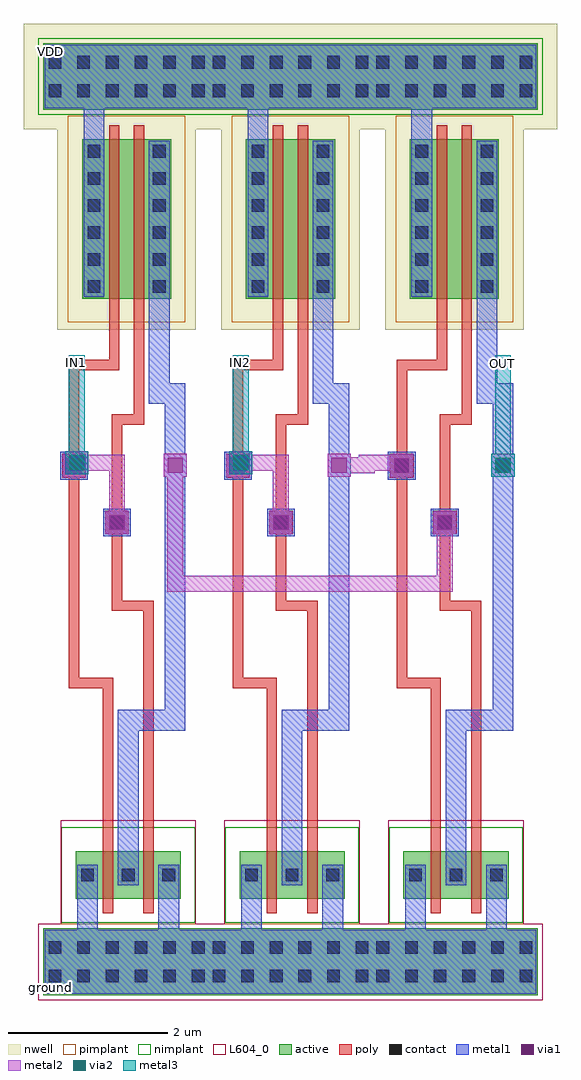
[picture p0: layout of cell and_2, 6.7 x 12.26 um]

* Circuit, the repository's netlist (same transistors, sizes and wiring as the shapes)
* LVS netlist generated with ICnet by 'penatb' on Wed Mar  6 2019 at 20:21:28

*
* Globals.
*
.global ground VDD

*
* Component pathname : $LAB_1/Tutorials/Tutorial_5
*
.subckt Tutorial_5  Y A B

        M4 Y A ground ground nmos l=0.13u w=0.6u m=1
        M3 Y B ground ground nmos l=0.13u w=0.6u m=1
        M2 Y A N$5 VDD pmos l=0.13u w=2u m=1
        M1 N$5 B VDD VDD pmos l=0.13u w=2u m=1
.ends Tutorial_5

*
* Component pathname : $LAB_1/Tutorials/Tutorial_6
*
.subckt Tutorial_6  OUT IN1 IN2

        X_TUTORIAL_53 OUT N$3 N$10 Tutorial_5
        X_TUTORIAL_52 N$10 IN2 IN2 Tutorial_5
        X_TUTORIAL_51 N$3 IN1 IN1 Tutorial_5
.ends Tutorial_6

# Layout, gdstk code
import gdstk
lib = gdstk.Library(unit=1e-6, precision=1e-09)
def R(c, l, rs):  # rectangles x0, y0, x1, y1
    for r in rs: c.add(gdstk.rectangle(r[:2], r[2:], *l))
def A(c, l, x, y, w, h, nx, ny, dx, dy):  # array of equal rectangles
    R(c, l, [(x+i*dx, y+j*dy, x+i*dx+w, y+j*dy+h) for i in range(nx) for j in range(ny)])
def P(c, l, *ps):  # polygons
    for p in ps: c.add(gdstk.Polygon(p, *l))
nwell = (3, 0)
active = (6, 0)
poly = (17, 0)
pimplant = (25, 0)
nimplant = (26, 0)
contact = (30, 0)
metal1 = (31, 0)
metal2 = (32, 0)
metal3 = (33, 0)
via1 = (51, 0)
via2 = (52, 0)
L604_0 = (604, 0)

poly_m1 = lib.new_cell('POLY_M1')
R(poly_m1, poly, [(-0.15,-0.15,0.15,0.15)])
R(poly_m1, contact, [(-0.08,-0.08,0.08,0.08)])
R(poly_m1, metal1, [(-0.13,-0.13,0.13,0.13)])

m1m2 = lib.new_cell('M1M2')
R(m1m2, metal1, [(-0.145,-0.145,0.145,0.145)])
R(m1m2, metal2, [(-0.145,-0.145,0.145,0.145)])
R(m1m2, via1, [(-0.095,-0.095,0.095,0.095)])

nor = lib.new_cell('nor')
R(nor, nwell, [(24.11,103.125,25.85,105.905), (23.69,105.645,26.27,106.965)])
R(nor, active, [(23.93,94.76,26.03,95.6), (24.34,95.97,25.66,96.57), (24.42,103.515,25.54,105.515), (23.93,105.885,26.03,106.725)])
R(nor, poly, [(24.68,95.79,24.81,95.97), (25.19,95.79,25.32,95.97), (24.68,95.97,24.81,96.57), (25.19,95.97,25.32,96.57), (24.68,96.57,24.81,96.75), (25.19,96.57,25.32,96.75), (24.76,103.335,24.89,103.515), (25.07,103.335,25.2,103.515), (24.76,103.515,24.89,105.515), (25.07,103.515,25.2,105.515), (24.76,105.515,24.89,105.695), (25.07,105.515,25.2,105.695)])
P(nor, poly, [(24.795,99.59),(25.19,99.59),(25.19,96.62),(25.32,96.62),(25.32,99.72),(24.925,99.72),(24.925,101.93),(25.2,101.93),(25.2,103.465),(25.07,103.465),(25.07,102.06),(24.795,102.06)],
  [(24.255,98.62),(24.68,98.62),(24.68,96.62),(24.81,96.62),(24.81,98.75),(24.385,98.75),(24.385,102.615),(24.89,102.615),(24.89,103.465),(24.76,103.465),(24.76,102.745),(24.255,102.745)])
R(nor, pimplant, [(23.87,94.7,26.09,95.66), (24.24,103.215,25.72,105.815)])
R(nor, nimplant, [(24.16,95.67,25.84,96.87), (23.87,105.825,26.09,106.785)])
A(nor, contact, 24, 94.92, 0.16, 0.16, 6, 2, 0.36, 0.36)
A(nor, contact, 24.41, 96.19, 0.16, 0.16, 3, 1, 0.51, 0)
A(nor, contact, 24.49, 103.585, 0.16, 0.16, 1, 6, 0, 0.34)
A(nor, contact, 25.31, 103.585, 0.16, 0.16, 1, 6, 0, 0.34)
A(nor, contact, 24, 106.045, 0.16, 0.16, 6, 2, 0.36, 0.36)
A(nor, metal1, 24.36, 96.14, 0.26, 0.26, 3, 1, 0.51, 0)
R(nor, metal1, [(23.95,94.78,26.01,95.58), (23.95,94.78,26.01,95.58), (24.36,95.32,24.62,96.4), (25.38,95.32,25.64,96.4), (24.685,100.525,25.035,100.875), (24.145,101.24,24.495,101.59), (24.44,103.535,24.7,105.495), (25.26,103.535,25.52,105.495), (24.44,105.235,24.7,106.165), (23.95,105.905,26.01,106.705), (23.95,105.905,26.01,106.705)])
P(nor, metal1, [(24.87,96.14),(25.13,96.14),(25.13,98.085),(25.72,98.085),(25.72,102.45),(25.52,102.45),(25.52,103.795),(25.26,103.795),(25.26,102.19),(25.46,102.19),(25.46,98.345),(24.87,98.345)])
R(nor, metal2, [(24.76,100.6,24.96,100.8), (25.49,101.32,25.69,101.52), (24.255,101.35,24.455,101.55)])
R(nor, L604_0, [(23.87,94.7,26.09,95.66), (24.15,95.58,25.85,96.96)])
nor.add(gdstk.Reference(poly_m1, (24.86,100.7)))
nor.add(gdstk.Reference(m1m2, (24.86,100.7)))
nor.add(gdstk.Reference(poly_m1, (24.32,101.415)))
nor.add(gdstk.Reference(m1m2, (24.32,101.415)))
nor.add(gdstk.Reference(m1m2, (25.59,101.42)))
nor.add(gdstk.Label('/M1', (24.825,104.515), layer=17, texttype=0))
nor.add(gdstk.Label('/M2', (25.135,104.515), layer=17, texttype=0))
nor.add(gdstk.Label('/M3', (24.745,96.27), layer=17, texttype=0))
nor.add(gdstk.Label('/M4', (25.255,96.27), layer=17, texttype=0))
nor.add(gdstk.Label('A', (24.86,100.7), layer=132, texttype=0))
nor.add(gdstk.Label('B', (24.355,101.45), layer=132, texttype=0))
nor.add(gdstk.Label('Y', (25.59,101.42), layer=132, texttype=0))
nor.add(gdstk.Label('VDD', (24.98,106.305), layer=131, texttype=0))
nor.add(gdstk.Label('ground', (24.98,95.18), layer=131, texttype=0))

m2m3 = lib.new_cell('M2M3')
R(m2m3, metal2, [(-0.145,-0.145,0.145,0.145)])
R(m2m3, metal3, [(-0.145,-0.145,0.145,0.145)])
R(m2m3, via2, [(-0.095,-0.095,0.095,0.095)])

and_2 = lib.new_cell('and_2')
R(and_2, metal1, [(21.22,98.91,21.38,99.07), (21.22,110.675,21.38,110.835)])
P(and_2, metal2, [(21.525,105.48),(22.03,105.48),(22.03,104.73),(22.23,104.73),(22.23,105.68),(21.525,105.68)],
  [(24.82,105.45),(25.37,105.45),(25.37,105.48),(25.845,105.48),(25.845,105.68),(25.17,105.68),(25.17,105.65),(24.82,105.65)],
  [(23.585,105.48),(24.09,105.48),(24.09,104.73),(24.29,104.73),(24.29,105.68),(23.585,105.68)],
  [(22.76,103.96),(26.35,103.96),(26.35,104.93),(26.15,104.93),(26.15,104.16),(22.96,104.16),(22.96,105.65),(22.76,105.65)])
R(and_2, metal3, [(26.88,105.45,27.08,106.93), (21.525,105.48,21.725,106.935), (23.585,105.48,23.785,106.935), (26.88,106.73,27.08,106.93), (21.525,106.735,21.725,106.935), (23.585,106.735,23.785,106.935)])
and_2.add(gdstk.Reference(nor, (1.39,4.13)))
and_2.add(gdstk.Reference(nor, (-0.67,4.13)))
and_2.add(gdstk.Reference(nor, (-2.73,4.13)))
and_2.add(gdstk.Reference(m2m3, (21.625,105.58)))
and_2.add(gdstk.Reference(m2m3, (23.685,105.58)))
and_2.add(gdstk.Reference(m2m3, (26.98,105.55)))
and_2.add(gdstk.Label('ground', (21.3,98.99), layer=131, texttype=0))
and_2.add(gdstk.Label('VDD', (21.3,110.755), layer=131, texttype=0))
and_2.add(gdstk.Label('IN1', (21.625,106.835), layer=133, texttype=0))
and_2.add(gdstk.Label('IN2', (23.685,106.835), layer=133, texttype=0))
and_2.add(gdstk.Label('OUT', (26.98,106.83), layer=133, texttype=0))

lib.write_gds('and_2.gds')
